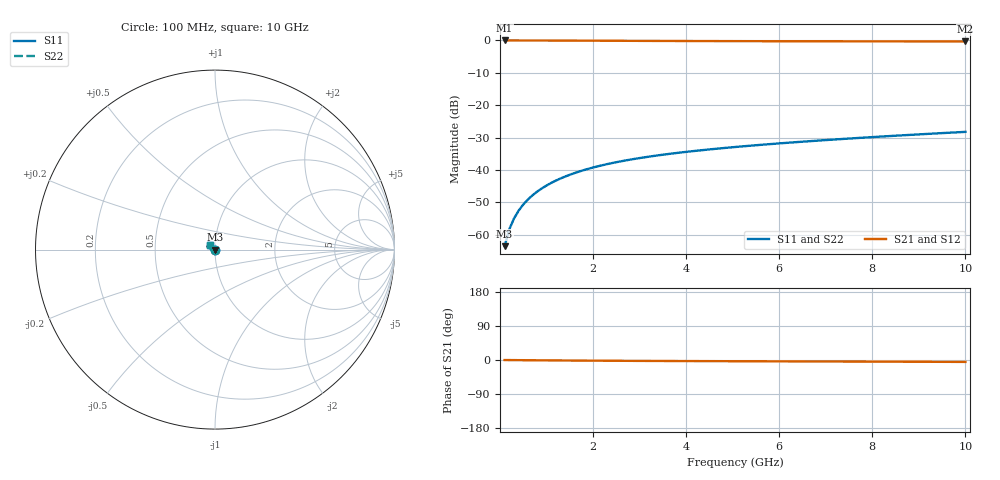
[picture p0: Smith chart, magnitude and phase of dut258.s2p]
! Touchstone file exported from HFSS 2024.1.0
!  File:  C:/UserFiles/LocalFiles/RDL_TSV_Batchsim/temp_TSV1_258_1779391148.aedt
!  Generated:  03:25:14 AM May 22, 2026
!  Design:  TSV1
!  Project:  temp_TSV1_258_1779391148
!  Setup:  Setup1
!  Solution:  Sweep
! Variables:
!  dtsv = 6.41um
!  hbump = 3um
!  htsv = 71.62um
!  lrdl = 252.1521522um
!  p = 40
!  p1 = 56.51um
!  t = 500um
!  trdl = 3um
!  wrdl = 24.89489489um
# GHz S MA R 50.000000
! Terminal data exported
! Port[1] = TSV22_T1
! Port[2] = TSV22_T2
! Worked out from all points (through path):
!   100 points, 100 MHz to 10 GHz, reference 50 ohm
!   highest |S21| = 0.00 dB at 100 MHz (marker M1); lowest = -0.3 dB at 10 GHz (marker M2)
!   lowest |S11| = -63.5 dB at 100 MHz (marker M3), VSWR 1.00, Z = 50 - j0.0597 ohm
!   |S11| at or under -10 dB: start of sweep to end of sweep
!   |S22| runs from -63.5 to -28.2 dB; largest |S21 - S12| = 4.1e-15
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0.1  0.0006661 -63.5  0.9996 -0.1  0.9996 -0.1  0.0006661 -63.5
! Gamma 0 0 0 0
! Port Impedance 50 0 50 0
0.2  0.001208 -79.6  0.9996 -0.2  0.9996 -0.2  0.001208 -79.6
0.3  0.001775 -87.2  0.9994 -0.3  0.9994 -0.3  0.001775 -87.2
0.4  0.002349 -92.3  0.9992 -0.4  0.9992 -0.4  0.002349 -92.3
0.5  0.002923 -96.4  0.999 -0.5  0.999 -0.5  0.002923 -96.4
0.6  0.003497 -100.0  0.9987 -0.6  0.9987 -0.6  0.003497 -100.0
0.7  0.004068 -103.2  0.9983 -0.7  0.9983 -0.7  0.004068 -103.2
0.8  0.004635 -106.1  0.998 -0.8  0.998 -0.8  0.004635 -106.1
0.9  0.005198 -109.0  0.9976 -0.9  0.9976 -0.9  0.005198 -109.0
1.1  0.006305 -114.3  0.9966 -1.1  0.9966 -1.1  0.006305 -114.3
1.4  0.007914 -121.8  0.995 -1.3  0.995 -1.3  0.007914 -121.8
1.6  0.008947 -126.4  0.9939 -1.5  0.9939 -1.5  0.008947 -126.4
1.8  0.009945 -130.9  0.9927 -1.6  0.9927 -1.6  0.009945 -130.9
2.1  0.01138 -137.3  0.9908 -1.8  0.9908 -1.8  0.01138 -137.3
2.5  0.01318 -145.3  0.9882 -2.1  0.9882 -2.1  0.01318 -145.3
2.9  0.01486 -152.6  0.9858 -2.3  0.9858 -2.3  0.01486 -152.6
3.4  0.01683 -161.0  0.9829 -2.5  0.9829 -2.5  0.01683 -161.0
4.2  0.01973 -172.8  0.979 -2.9  0.979 -2.9  0.01973 -172.8
5.1  0.02279 176.1  0.9754 -3.2  0.9754 -3.2  0.02278 176.1
6.7  0.02798 160.6  0.9709 -3.8  0.9709 -3.8  0.02798 160.6
8.4  0.03348 148.4  0.9677 -4.4  0.9677 -4.4  0.03348 148.4
10  0.03876 139.6  0.9655 -5.0  0.9655 -5.0  0.03876 139.6
